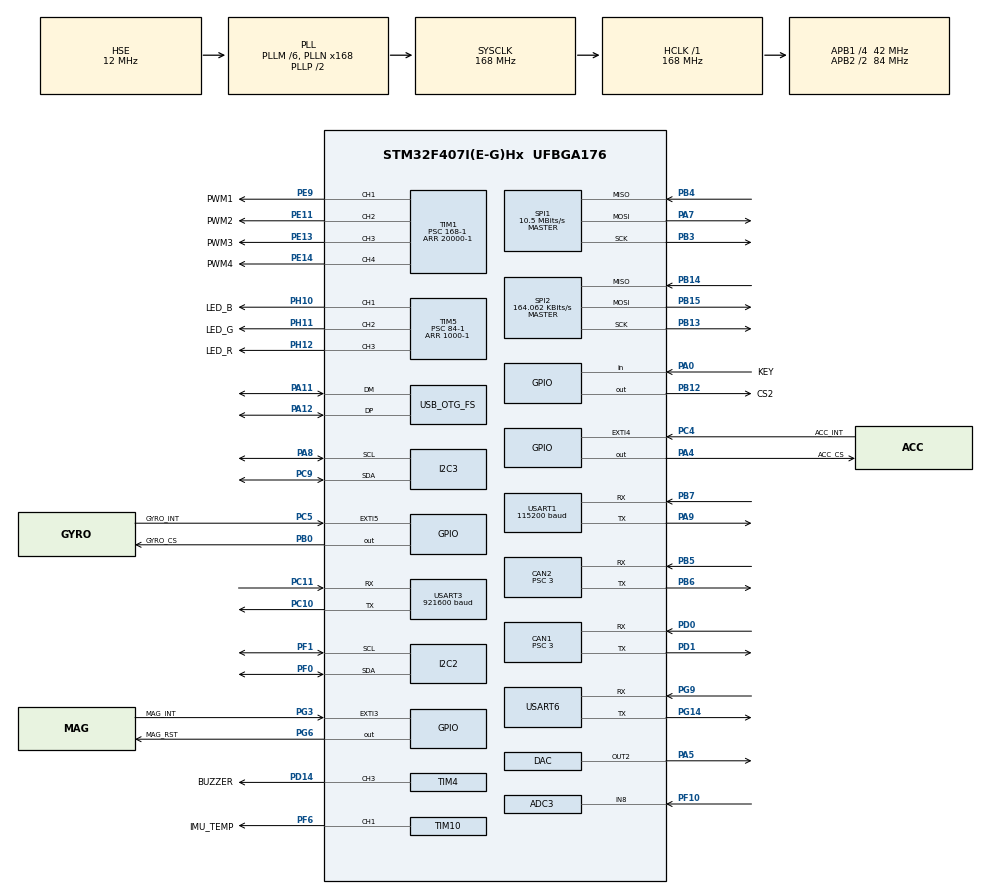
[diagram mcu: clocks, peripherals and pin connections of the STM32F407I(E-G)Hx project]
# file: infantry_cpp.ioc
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ADC1.Channel-0\#ChannelRegularConversion=ADC_CHANNEL_TEMPSENSOR
ADC1.ClockPrescaler=ADC_CLOCK_SYNC_PCLK_DIV6
ADC1.NbrOfConversionFlag=1
ADC1.Rank-0\#ChannelRegularConversion=1
ADC1.SamplingTime-0\#ChannelRegularConversion=ADC_SAMPLETIME_3CYCLES
ADC1.master=1
ADC3.Channel-0\#ChannelRegularConversion=ADC_CHANNEL_8
ADC3.ClockPrescaler=ADC_CLOCK_SYNC_PCLK_DIV6
ADC3.ContinuousConvMode=DISABLE
ADC3.NbrOfConversion=1
ADC3.NbrOfConversionFlag=1
ADC3.Rank-0\#ChannelRegularConversion=1
ADC3.SamplingTime-0\#ChannelRegularConversion=ADC_SAMPLETIME_480CYCLES
ADC3.ScanConvMode=DISABLE
CAN1.BS1=CAN_BS1_10TQ
CAN1.BS2=CAN_BS2_3TQ
CAN1.CalculateBaudRate=1000000
CAN1.CalculateTimeBit=1000
CAN1.CalculateTimeQuantum=71.42857142857143
CAN1.NART=ENABLE
CAN1.Prescaler=3
CAN1.TXFP=ENABLE
CAN2.BS1=CAN_BS1_10TQ
CAN2.BS2=CAN_BS2_3TQ
CAN2.CalculateBaudRate=1000000
CAN2.CalculateTimeBit=1000
CAN2.CalculateTimeQuantum=71.42857142857143
CAN2.NART=ENABLE
CAN2.Prescaler=3
CAN2.TXFP=ENABLE
Dma.Request0=USART1_RX
Dma.Request1=USART1_TX
Dma.Request2=USART3_RX
Dma.Request3=USART6_RX
Dma.Request4=USART6_TX
Dma.USART1_RX.0.Direction=DMA_PERIPH_TO_MEMORY
Dma.USART1_RX.0.FIFOMode=DMA_FIFOMODE_DISABLE
Dma.USART1_RX.0.Instance=DMA2_Stream2
Dma.USART1_RX.0.MemDataAlignment=DMA_MDATAALIGN_BYTE
Dma.USART1_RX.0.MemInc=DMA_MINC_ENABLE
Dma.USART1_RX.0.Mode=DMA_CIRCULAR
Dma.USART1_RX.0.PeriphDataAlignment=DMA_PDATAALIGN_BYTE
Dma.USART1_RX.0.PeriphInc=DMA_PINC_DISABLE
Dma.USART1_RX.0.Priority=DMA_PRIORITY_HIGH
Dma.USART1_TX.1.Direction=DMA_MEMORY_TO_PERIPH
Dma.USART1_TX.1.FIFOMode=DMA_FIFOMODE_DISABLE
Dma.USART1_TX.1.Instance=DMA2_Stream7
Dma.USART1_TX.1.MemDataAlignment=DMA_MDATAALIGN_BYTE
Dma.USART1_TX.1.MemInc=DMA_MINC_ENABLE
Dma.USART1_TX.1.Mode=DMA_NORMAL
Dma.USART1_TX.1.PeriphDataAlignment=DMA_PDATAALIGN_BYTE
Dma.USART1_TX.1.PeriphInc=DMA_PINC_DISABLE
Dma.USART1_TX.1.Priority=DMA_PRIORITY_HIGH
Dma.USART3_RX.2.Direction=DMA_PERIPH_TO_MEMORY
Dma.USART3_RX.2.FIFOMode=DMA_FIFOMODE_DISABLE
Dma.USART3_RX.2.Instance=DMA1_Stream1
Dma.USART3_RX.2.MemDataAlignment=DMA_MDATAALIGN_BYTE
Dma.USART3_RX.2.MemInc=DMA_MINC_ENABLE
Dma.USART3_RX.2.Mode=DMA_CIRCULAR
Dma.USART3_RX.2.PeriphDataAlignment=DMA_PDATAALIGN_BYTE
Dma.USART3_RX.2.PeriphInc=DMA_PINC_DISABLE
Dma.USART3_RX.2.Priority=DMA_PRIORITY_VERY_HIGH
Dma.USART6_RX.3.Direction=DMA_PERIPH_TO_MEMORY
Dma.USART6_RX.3.FIFOMode=DMA_FIFOMODE_DISABLE
Dma.USART6_RX.3.Instance=DMA2_Stream1
Dma.USART6_RX.3.MemDataAlignment=DMA_MDATAALIGN_BYTE
Dma.USART6_RX.3.MemInc=DMA_MINC_ENABLE
Dma.USART6_RX.3.Mode=DMA_CIRCULAR
Dma.USART6_RX.3.PeriphDataAlignment=DMA_PDATAALIGN_BYTE
Dma.USART6_RX.3.PeriphInc=DMA_PINC_DISABLE
Dma.USART6_RX.3.Priority=DMA_PRIORITY_HIGH
Dma.USART6_TX.4.Direction=DMA_MEMORY_TO_PERIPH
Dma.USART6_TX.4.FIFOMode=DMA_FIFOMODE_DISABLE
Dma.USART6_TX.4.Instance=DMA2_Stream6
Dma.USART6_TX.4.MemDataAlignment=DMA_MDATAALIGN_BYTE
Dma.USART6_TX.4.MemInc=DMA_MINC_ENABLE
Dma.USART6_TX.4.Mode=DMA_NORMAL
Dma.USART6_TX.4.PeriphDataAlignment=DMA_PDATAALIGN_BYTE
Dma.USART6_TX.4.PeriphInc=DMA_PINC_DISABLE
Dma.USART6_TX.4.Priority=DMA_PRIORITY_HIGH
FREERTOS.Tasks01=defaultTask,24,128,StartDefaultTask,Default,NULL,Dynamic,NULL,NULL
FREERTOS.configENABLE_FPU=1
FREERTOS.configTOTAL_HEAP_SIZE=20000
I2C2.I2C_Mode=I2C_Fast
I2C3.I2C_Mode=I2C_Fast
Mcu.Family=STM32F4
Mcu.Name=STM32F407I(E-G)Hx
Mcu.Package=UFBGA176
NVIC.CAN1_RX0_IRQn=true\:5\:0\:false\:false\:true\:true\:true\:true\:true
NVIC.CAN1_RX1_IRQn=true\:5\:0\:false\:false\:true\:true\:true\:true\:true
NVIC.CAN2_RX0_IRQn=true\:5\:0\:false\:false\:true\:true\:true\:true\:true
NVIC.CAN2_RX1_IRQn=true\:5\:0\:false\:false\:true\:true\:true\:true\:true
NVIC.DMA1_Stream1_IRQn=true\:5\:0\:false\:false\:true\:true\:false\:true\:true
NVIC.DMA2_Stream1_IRQn=true\:5\:0\:false\:false\:true\:true\:false\:true\:true
NVIC.DMA2_Stream2_IRQn=true\:5\:0\:false\:false\:true\:true\:false\:true\:true
NVIC.DMA2_Stream6_IRQn=true\:5\:0\:false\:false\:true\:true\:false\:true\:true
NVIC.DMA2_Stream7_IRQn=true\:5\:0\:false\:false\:true\:true\:false\:true\:true
NVIC.FLASH_IRQn=true\:5\:0\:false\:false\:true\:true\:true\:true\:true
NVIC.I2C3_ER_IRQn=true\:5\:0\:false\:false\:true\:true\:true\:true\:true
NVIC.I2C3_EV_IRQn=true\:5\:0\:false\:false\:true\:true\:true\:true\:true
NVIC.OTG_FS_IRQn=true\:5\:0\:false\:false\:true\:true\:true\:true\:true
NVIC.PriorityGroup=NVIC_PRIORITYGROUP_4
NVIC.TIM5_IRQn=true\:5\:0\:false\:false\:true\:true\:true\:true\:true
NVIC.TIM8_TRG_COM_TIM14_IRQn=true\:15\:0\:false\:false\:true\:false\:false\:true\:true
NVIC.TimeBase=TIM8_TRG_COM_TIM14_IRQn
NVIC.TimeBaseIP=TIM14
NVIC.USART1_IRQn=true\:5\:0\:false\:false\:true\:true\:true\:true\:true
NVIC.USART3_IRQn=true\:5\:0\:false\:false\:true\:true\:true\:true\:true
NVIC.USART6_IRQn=true\:5\:0\:false\:false\:true\:true\:true\:true\:true
PA0-WKUP.GPIO_Label=KEY
PA0-WKUP.GPIO_PuPd=GPIO_PULLUP
PA0-WKUP.Signal=GPIO_Input
PA11.Mode=Device_Only
PA11.Signal=USB_OTG_FS_DM
PA12.Mode=Device_Only
PA12.Signal=USB_OTG_FS_DP
PA13.Mode=Serial_Wire
PA13.Signal=SYS_JTMS-SWDIO
PA14.Mode=Serial_Wire
PA14.Signal=SYS_JTCK-SWCLK
PA4.GPIO_Label=ACC_CS
PA4.GPIO_Speed=GPIO_SPEED_FREQ_VERY_HIGH
PA4.PinState=GPIO_PIN_SET
PA4.Signal=GPIO_Output
PA5.Signal=COMP_DAC2_group
PA7.GPIO_PuPd=GPIO_PULLUP
PA7.Mode=Full_Duplex_Master
PA7.Signal=SPI1_MOSI
PA8.Mode=I2C
PA8.Signal=I2C3_SCL
PA9.Mode=Asynchronous
PA9.Signal=USART1_TX
PB0.GPIO_Label=GYRO_CS
PB0.GPIO_Speed=GPIO_SPEED_FREQ_VERY_HIGH
PB0.PinState=GPIO_PIN_SET
PB0.Signal=GPIO_Output
PB12.GPIO_Label=CS2
PB12.GPIO_ModeDefaultOutputPP=GPIO_MODE_OUTPUT_PP
PB12.GPIO_PuPd=GPIO_NOPULL
PB12.GPIO_Speed=GPIO_SPEED_FREQ_VERY_HIGH
PB12.PinState=GPIO_PIN_SET
PB12.Signal=GPIO_Output
PB13.Mode=Full_Duplex_Master
PB13.Signal=SPI2_SCK
PB14.Mode=Full_Duplex_Master
PB14.Signal=SPI2_MISO
PB15.Mode=Full_Duplex_Master
PB15.Signal=SPI2_MOSI
PB3.GPIO_PuPd=GPIO_PULLUP
PB3.Mode=Full_Duplex_Master
PB3.Signal=SPI1_SCK
PB4.GPIO_PuPd=GPIO_PULLUP
PB4.Mode=Full_Duplex_Master
PB4.Signal=SPI1_MISO
PB5.Mode=CAN_Activate
PB5.Signal=CAN2_RX
PB6.Mode=CAN_Activate
PB6.Signal=CAN2_TX
PB7.Mode=Asynchronous
PB7.Signal=USART1_RX
PC10.Mode=Asynchronous
PC10.Signal=USART3_TX
PC11.Mode=Asynchronous
PC11.Signal=USART3_RX
PC4.GPIO_Label=ACC_INT
PC4.GPIO_ModeDefaultEXTI=GPIO_MODE_IT_FALLING
PC4.GPIO_PuPd=GPIO_PULLUP
PC4.Signal=GPXTI4
PC5.GPIO_Label=GYRO_INT
PC5.GPIO_ModeDefaultEXTI=GPIO_MODE_IT_FALLING
PC5.GPIO_PuPd=GPIO_PULLUP
PC5.Signal=GPXTI5
PC9.Mode=I2C
PC9.Signal=I2C3_SDA
PD0.Mode=CAN_Activate
PD0.Signal=CAN1_RX
PD1.Mode=CAN_Activate
PD1.Signal=CAN1_TX
PD14.GPIO_Label=BUZZER
PD14.GPIO_Speed=GPIO_SPEED_FREQ_VERY_HIGH
PD14.Signal=S_TIM4_CH3
PE11.GPIO_Label=PWM2
PE11.GPIO_Speed=GPIO_SPEED_FREQ_VERY_HIGH
PE11.Signal=S_TIM1_CH2
PE13.GPIO_Label=PWM3
PE13.GPIO_Speed=GPIO_SPEED_FREQ_VERY_HIGH
PE13.Signal=S_TIM1_CH3
PE14.GPIO_Label=PWM4
PE14.GPIO_Speed=GPIO_SPEED_FREQ_VERY_HIGH
PE14.Signal=S_TIM1_CH4
PE9.GPIO_Label=PWM1
PE9.GPIO_Speed=GPIO_SPEED_FREQ_VERY_HIGH
PE9.Signal=S_TIM1_CH1
PF0.Mode=I2C
PF0.Signal=I2C2_SDA
PF1.Mode=I2C
PF1.Signal=I2C2_SCL
PF10.Mode=IN8
PF10.Signal=ADC3_IN8
PF6.GPIO_Label=IMU_TEMP
PF6.GPIO_Speed=GPIO_SPEED_FREQ_VERY_HIGH
PF6.Signal=S_TIM10_CH1
PG14.Mode=Asynchronous
PG14.Signal=USART6_TX
PG3.GPIO_Label=MAG_INT
PG3.GPIO_ModeDefaultEXTI=GPIO_MODE_IT_FALLING
PG3.GPIO_PuPd=GPIO_PULLUP
PG3.Signal=GPXTI3
PG6.GPIO_Label=MAG_RST
PG6.GPIO_Speed=GPIO_SPEED_FREQ_VERY_HIGH
PG6.PinState=GPIO_PIN_SET
PG6.Signal=GPIO_Output
PG9.Mode=Asynchronous
PG9.Signal=USART6_RX
PH0-OSC_IN.Mode=HSE-External-Oscillator
PH0-OSC_IN.Signal=RCC_OSC_IN
PH1-OSC_OUT.Mode=HSE-External-Oscillator
PH1-OSC_OUT.Signal=RCC_OSC_OUT
PH10.GPIO_Label=LED_B
PH10.GPIO_Speed=GPIO_SPEED_FREQ_VERY_HIGH
PH10.Signal=S_TIM5_CH1
PH11.GPIO_Label=LED_G
PH11.GPIO_Speed=GPIO_SPEED_FREQ_VERY_HIGH
PH11.Signal=S_TIM5_CH2
PH12.GPIO_Label=LED_R
PH12.GPIO_Speed=GPIO_SPEED_FREQ_VERY_HIGH
PH12.Signal=S_TIM5_CH3
ProjectManager.HeapSize=0x5000
ProjectManager.StackSize=0x5000
ProjectManager.TargetToolchain=CMake
RCC.48MHZClocksFreq_Value=48000000
RCC.AHBFreq_Value=168000000
RCC.APB1CLKDivider=RCC_HCLK_DIV4
RCC.APB1Freq_Value=42000000
RCC.APB1TimFreq_Value=84000000
RCC.APB2CLKDivider=RCC_HCLK_DIV2
RCC.APB2Freq_Value=84000000
RCC.APB2TimFreq_Value=168000000
RCC.CortexFreq_Value=168000000
RCC.HCLKFreq_Value=168000000
RCC.HSE_VALUE=12000000
RCC.HSI_VALUE=16000000
RCC.LSE_VALUE=32768
RCC.PLLM=6
RCC.PLLN=168
RCC.PLLQ=7
RCC.SYSCLKFreq_VALUE=168000000
RCC.SYSCLKSource=RCC_SYSCLKSOURCE_PLLCLK
RCC.VCOOutputFreq_Value=336000000
SH.COMP_DAC2_group.0=DAC_OUT2,DAC_OUT2
SH.S_TIM10_CH1.0=TIM10_CH1,PWM Generation1 CH1
SH.S_TIM1_CH1.0=TIM1_CH1,PWM Generation1 CH1
SH.S_TIM1_CH2.0=TIM1_CH2,PWM Generation2 CH2
SH.S_TIM1_CH3.0=TIM1_CH3,PWM Generation3 CH3
SH.S_TIM1_CH4.0=TIM1_CH4,PWM Generation4 CH4
SH.S_TIM4_CH3.0=TIM4_CH3,PWM Generation3 CH3
SH.S_TIM5_CH1.0=TIM5_CH1,PWM Generation1 CH1
SH.S_TIM5_CH2.0=TIM5_CH2,PWM Generation2 CH2
SH.S_TIM5_CH3.0=TIM5_CH3,PWM Generation3 CH3
SPI1.BaudRatePrescaler=SPI_BAUDRATEPRESCALER_8
SPI1.CLKPhase=SPI_PHASE_2EDGE
SPI1.CLKPolarity=SPI_POLARITY_HIGH
SPI1.CalculateBaudRate=10.5 MBits/s
SPI1.Direction=SPI_DIRECTION_2LINES
SPI1.Mode=SPI_MODE_MASTER
SPI1.VirtualType=VM_MASTER
SPI2.BaudRatePrescaler=SPI_BAUDRATEPRESCALER_256
SPI2.CLKPhase=SPI_PHASE_2EDGE
SPI2.CLKPolarity=SPI_POLARITY_HIGH
SPI2.CalculateBaudRate=164.062 KBits/s
SPI2.Direction=SPI_DIRECTION_2LINES
SPI2.Mode=SPI_MODE_MASTER
SPI2.VirtualType=VM_MASTER
STMicroelectronics.FP-SNS-STAIOTCFT.1.1.0.MathOoLibCcCMSISJjDSPJjInclude=true
STMicroelectronics.FP-SNS-STAIOTCFT.1.1.0.MathOoLibCcCMSISJjDSPJjLib=true
TIM1.AutoReloadPreload=TIM_AUTORELOAD_PRELOAD_ENABLE
TIM1.Channel-PWM\ Generation1\ CH1=TIM_CHANNEL_1
TIM1.Channel-PWM\ Generation2\ CH2=TIM_CHANNEL_2
TIM1.Channel-PWM\ Generation3\ CH3=TIM_CHANNEL_3
TIM1.Channel-PWM\ Generation4\ CH4=TIM_CHANNEL_4
TIM1.Period=20000-1
TIM1.Prescaler=168-1
TIM10.AutoReloadPreload=TIM_AUTORELOAD_PRELOAD_ENABLE
TIM10.Channel=TIM_CHANNEL_1
TIM10.Period=5000-1
TIM10.Prescaler=168-1
TIM4.AutoReloadPreload=TIM_AUTORELOAD_PRELOAD_ENABLE
TIM4.Channel-PWM\ Generation3\ CH3=TIM_CHANNEL_3
TIM4.Period=2000-1
TIM4.Prescaler=84-1
TIM5.AutoReloadPreload=TIM_AUTORELOAD_PRELOAD_ENABLE
TIM5.Channel-PWM\ Generation1\ CH1=TIM_CHANNEL_1
TIM5.Channel-PWM\ Generation2\ CH2=TIM_CHANNEL_2
TIM5.Channel-PWM\ Generation3\ CH3=TIM_CHANNEL_3
TIM5.Period=1000-1
TIM5.Prescaler=84-1
USART1.BaudRate=115200
USART1.VirtualMode=VM_ASYNC
USART3.BaudRate=921600
USART3.Mode=MODE_RX
USART3.Parity=PARITY_NONE
USART3.VirtualMode=VM_ASYNC
USART3.WordLength=WORDLENGTH_8B
USART6.VirtualMode=VM_ASYNC
USB_OTG_FS.VirtualMode=Device_Only
VP_ADC1_TempSens_Input.Mode=IN-TempSens
VP_ADC1_Vref_Input.Mode=IN-Vrefint
VP_FREERTOS_VS_CMSIS_V2.Mode=CMSIS_V2
VP_RTC_VS_RTC_Activate.Mode=RTC_Enabled
VP_STMicroelectronics.FP-SNS-STAIOTCFT_VS_CMSISJjMathOoLib_1.0.0_1.1.0.Mode=CMSISJjMathOoLib
VP_SYS_VS_tim14.Mode=TIM14
VP_TIM10_VS_ClockSourceINT.Mode=Enable_Timer
VP_TIM1_VS_ClockSourceINT.Mode=Internal
VP_TIM4_VS_ClockSourceINT.Mode=Internal
VP_TIM5_VS_ClockSourceINT.Mode=Internal
board=custom

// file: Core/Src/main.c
/* USER CODE BEGIN Header */
/**
  ******************************************************************************
  * @file           : main.c
  * @brief          : Main program body
  ******************************************************************************
  * @attention
  *
  * Copyright (c) 2026 STMicroelectronics.
  * All rights reserved.
  *
  * This software is licensed under terms that can be found in the LICENSE file
  * in the root directory of this software component.
  * If no LICENSE file comes with this software, it is provided AS-IS.
  *
  ******************************************************************************
  */
/* USER CODE END Header */
#include "main.h"
#include "cmsis_os.h"
#include "adc.h"
#include "can.h"
#include "dac.h"
#include "dma.h"
#include "i2c.h"
#include "rtc.h"
#include "spi.h"
#include "tim.h"
#include "usart.h"
#include "usb_otg.h"
#include "gpio.h"

void SystemClock_Config(void);
void MX_FREERTOS_Init(void);

int main(void)
{

  /* MCU Configuration--------------------------------------------------------*/

  /* Reset of all peripherals, Initializes the Flash interface and the Systick. */
  HAL_Init();

  /* Configure the system clock */
  SystemClock_Config();

  /* Initialize all configured peripherals */
  MX_GPIO_Init();
  MX_DMA_Init();
  MX_CAN1_Init();
  MX_CAN2_Init();
  MX_TIM1_Init();
  MX_USART1_UART_Init();
  MX_SPI1_Init();
  MX_SPI2_Init();
  MX_USART3_UART_Init();
  MX_USART6_UART_Init();
  MX_I2C2_Init();
  MX_I2C3_Init();
  MX_USB_OTG_FS_PCD_Init();
  MX_ADC1_Init();
  MX_DAC_Init();
  MX_TIM10_Init();
  MX_TIM4_Init();
  MX_TIM5_Init();
  MX_RTC_Init();
  MX_ADC3_Init();

  /* Init scheduler */
  osKernelInitialize();  /* Call init function for freertos objects (in cmsis_os2.c) */
  MX_FREERTOS_Init();

  /* Start scheduler */
  osKernelStart();

  /* We should never get here as control is now taken by the scheduler */

  /* Infinite loop */
  while (1)
  {

  }
}

void SystemClock_Config(void)
{
  RCC_OscInitTypeDef RCC_OscInitStruct = {0};
  RCC_ClkInitTypeDef RCC_ClkInitStruct = {0};

  /** Configure the main internal regulator output voltage
  */
  __HAL_RCC_PWR_CLK_ENABLE();
  __HAL_PWR_VOLTAGESCALING_CONFIG(PWR_REGULATOR_VOLTAGE_SCALE1);

  /** Initializes the RCC Oscillators according to the specified parameters
  * in the RCC_OscInitTypeDef structure.
  */
  RCC_OscInitStruct.OscillatorType = RCC_OSCILLATORTYPE_LSI|RCC_OSCILLATORTYPE_HSE;
  RCC_OscInitStruct.HSEState = RCC_HSE_ON;
  RCC_OscInitStruct.LSIState = RCC_LSI_ON;
  RCC_OscInitStruct.PLL.PLLState = RCC_PLL_ON;
  RCC_OscInitStruct.PLL.PLLSource = RCC_PLLSOURCE_HSE;
  RCC_OscInitStruct.PLL.PLLM = 6;
  RCC_OscInitStruct.PLL.PLLN = 168;
  RCC_OscInitStruct.PLL.PLLP = RCC_PLLP_DIV2;
  RCC_OscInitStruct.PLL.PLLQ = 7;
  if (HAL_RCC_OscConfig(&RCC_OscInitStruct) != HAL_OK)
  {
    Error_Handler();
  }

  /** Initializes the CPU, AHB and APB buses clocks
  */
  RCC_ClkInitStruct.ClockType = RCC_CLOCKTYPE_HCLK|RCC_CLOCKTYPE_SYSCLK
                              |RCC_CLOCKTYPE_PCLK1|RCC_CLOCKTYPE_PCLK2;
  RCC_ClkInitStruct.SYSCLKSource = RCC_SYSCLKSOURCE_PLLCLK;
  RCC_ClkInitStruct.AHBCLKDivider = RCC_SYSCLK_DIV1;
  RCC_ClkInitStruct.APB1CLKDivider = RCC_HCLK_DIV4;
  RCC_ClkInitStruct.APB2CLKDivider = RCC_HCLK_DIV2;

  if (HAL_RCC_ClockConfig(&RCC_ClkInitStruct, FLASH_LATENCY_5) != HAL_OK)
  {
    Error_Handler();
  }
}

void HAL_TIM_PeriodElapsedCallback(TIM_HandleTypeDef *htim)
{
  if (htim->Instance == TIM14)
  {
    HAL_IncTick();
  }
}

void Error_Handler(void)
{
  __disable_irq();
  while (1)
  {
  }
}

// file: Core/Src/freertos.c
/* USER CODE BEGIN Header */
/**
  ******************************************************************************
  * File Name          : freertos.c
  * Description        : Code for freertos applications
  ******************************************************************************
  * @attention
  *
  * Copyright (c) 2026 STMicroelectronics.
  * All rights reserved.
  *
  * This software is licensed under terms that can be found in the LICENSE file
  * in the root directory of this software component.
  * If no LICENSE file comes with this software, it is provided AS-IS.
  *
  ******************************************************************************
  */
/* USER CODE END Header */

#include "FreeRTOS.h"
#include "task.h"
#include "main.h"
#include "cmsis_os.h"

/* USER CODE BEGIN Includes */
#include "robot.h"
#include "bsp_log.h"
/* USER CODE END Includes */

/* USER CODE BEGIN Variables */
StaticTask_t defaultTask_buffer;
StackType_t  defaultTask_stack[1024];
/* USER CODE END Variables */
/* Definitions for defaultTask */
osThreadId_t defaultTaskHandle;
const osThreadAttr_t defaultTask_attributes = {
  .name = "defaultTask",
  .stack_size = 128 * 4,
  .priority = (osPriority_t) osPriorityNormal,
};

void StartDefaultTask(void *argument);

void MX_FREERTOS_Init(void); /* (MISRA C 2004 rule 8.1) */

void MX_FREERTOS_Init(void) {
  /* USER CODE BEGIN Init */
  Robot_Init();
  /* USER CODE END Init */

  /* USER CODE BEGIN RTOS_MUTEX */
  SEGGER_RTT_Init();
  /* USER CODE END RTOS_MUTEX */

  /* Create the thread(s) */
  /* creation of defaultTask */
  defaultTaskHandle = osThreadNew(StartDefaultTask, NULL, &defaultTask_attributes);

}

void StartDefaultTask(void *argument)
{
  /* USER CODE BEGIN StartDefaultTask */
  BSP_LogInit();
  /* Infinite loop */
  for(;;)
  {
    osDelay(1);
    Robot_Task();
  }
  /* USER CODE END StartDefaultTask */
}

/* USER CODE BEGIN Application */

void vApplicationGetTaskMemory(StaticTask_t **ppxIdleTaskTCBBuffer,
                               StackType_t **ppxIdleTaskStackBuffer,
                               uint32_t *pulIdleTaskStackSize)
{
  static StaticTask_t idle_task_tcb;
  static StackType_t  idle_task_stack[configMINIMAL_STACK_SIZE];
  *ppxIdleTaskTCBBuffer = &idle_task_tcb;
  *ppxIdleTaskStackBuffer = idle_task_stack;
  *pulIdleTaskStackSize = configMINIMAL_STACK_SIZE;
}

void vApplicationGetTimerTaskMemory(StaticTask_t **ppxTimerTaskTCBBuffer,
                                    StackType_t **ppxTimerTaskStackBuffer,
                                    uint32_t *pulTimerTaskStackSize)
{
  static StaticTask_t timer_task_tcb;
  static StackType_t  timer_task_stack[configTIMER_TASK_STACK_DEPTH];
  *ppxTimerTaskTCBBuffer = &timer_task_tcb;
  *ppxTimerTaskStackBuffer = timer_task_stack;
  *pulTimerTaskStackSize = configTIMER_TASK_STACK_DEPTH;
}

/* USER CODE END Application */
